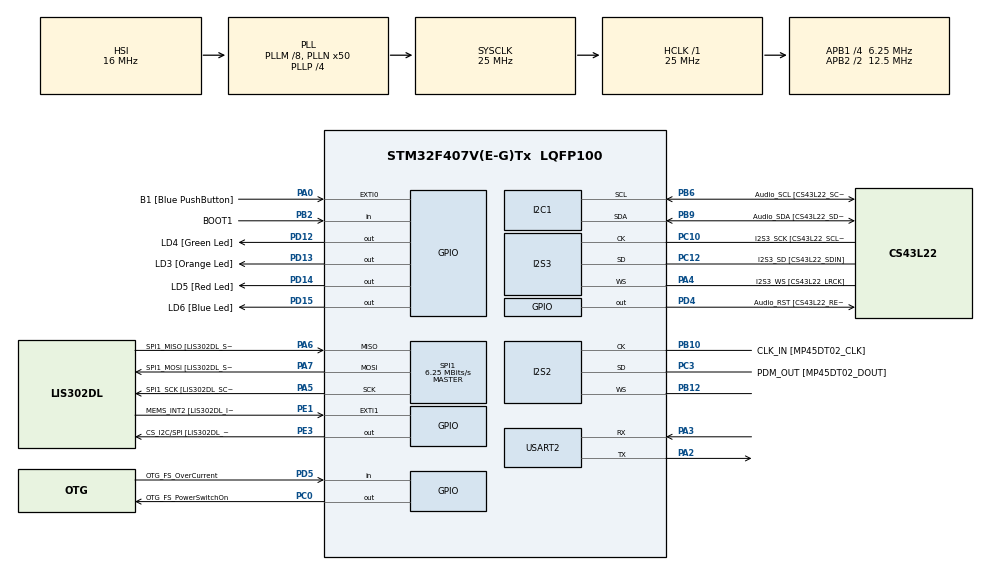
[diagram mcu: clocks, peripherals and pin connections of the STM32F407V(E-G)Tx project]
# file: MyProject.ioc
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I2S2.AudioFreq=I2S_AUDIOFREQ_44K
I2S2.ErrorAudioFreq=0.26 %
I2S2.Mode=I2S_MODE_MASTER_RX
I2S2.RealAudioFreq=44.117 KHz
I2S3.AudioFreq=I2S_AUDIOFREQ_44K
I2S3.ErrorAudioFreq=0.26 %
I2S3.RealAudioFreq=44.117 KHz
Mcu.Family=STM32F4
Mcu.Name=STM32F407V(E-G)Tx
Mcu.Package=LQFP100
NVIC.PriorityGroup=NVIC_PRIORITYGROUP_0
PA0-WKUP.GPIO_Label=B1 [Blue PushButton]
PA0-WKUP.Signal=GPXTI0
PA10.GPIO_Label=OTG_FS_ID
PA10.GPIO_Mode=GPIO_MODE_AF_PP
PA10.GPIO_PuPd=GPIO_NOPULL
PA10.GPIO_Speed=GPIO_SPEED_FREQ_LOW
PA10.Signal=USB_OTG_FS_ID
PA11.GPIO_Label=OTG_FS_DM
PA11.GPIO_Mode=GPIO_MODE_AF_PP
PA11.GPIO_PuPd=GPIO_NOPULL
PA11.GPIO_Speed=GPIO_SPEED_FREQ_LOW
PA11.Signal=USB_OTG_FS_DM
PA12.GPIO_Label=OTG_FS_DP
PA12.GPIO_Mode=GPIO_MODE_AF_PP
PA12.GPIO_PuPd=GPIO_NOPULL
PA12.GPIO_Speed=GPIO_SPEED_FREQ_LOW
PA12.Signal=USB_OTG_FS_DP
PA13.GPIO_Label=SWDIO
PA13.Signal=SYS_JTMS-SWDIO
PA14.GPIO_Label=SWCLK
PA14.Signal=SYS_JTCK-SWCLK
PA2.Mode=Asynchronous
PA2.Signal=USART2_TX
PA3.Mode=Asynchronous
PA3.Signal=USART2_RX
PA4.GPIO_Label=I2S3_WS [CS43L22_LRCK]
PA4.GPIO_Mode=GPIO_MODE_AF_PP
PA4.GPIO_PuPd=GPIO_NOPULL
PA4.GPIO_Speed=GPIO_SPEED_FREQ_LOW
PA4.Mode=Half_Duplex_Master
PA4.Signal=I2S3_WS
PA5.GPIO_Label=SPI1_SCK [LIS302DL_SCL/SPC]
PA5.GPIO_Mode=GPIO_MODE_AF_PP
PA5.GPIO_PuPd=GPIO_NOPULL
PA5.GPIO_Speed=GPIO_SPEED_FREQ_LOW
PA5.Mode=Full_Duplex_Master
PA5.Signal=SPI1_SCK
PA6.GPIO_Label=SPI1_MISO [LIS302DL_SDO]
PA6.GPIO_Mode=GPIO_MODE_AF_PP
PA6.GPIO_PuPd=GPIO_NOPULL
PA6.GPIO_Speed=GPIO_SPEED_FREQ_LOW
PA6.Mode=Full_Duplex_Master
PA6.Signal=SPI1_MISO
PA7.GPIO_Label=SPI1_MOSI [LIS302DL_SDA/SDI/SDO]
PA7.GPIO_Mode=GPIO_MODE_AF_PP
PA7.GPIO_PuPd=GPIO_NOPULL
PA7.GPIO_Speed=GPIO_SPEED_FREQ_LOW
PA7.Mode=Full_Duplex_Master
PA7.Signal=SPI1_MOSI
PA9.GPIO_Label=VBUS_FS
PA9.GPIO_Mode=GPIO_MODE_INPUT
PA9.GPIO_PuPd=GPIO_NOPULL
PA9.Signal=USB_OTG_FS_VBUS
PB10.GPIO_Label=CLK_IN [MP45DT02_CLK]
PB10.GPIO_Mode=GPIO_MODE_AF_PP
PB10.GPIO_PuPd=GPIO_NOPULL
PB10.GPIO_Speed=GPIO_SPEED_FREQ_LOW
PB10.Mode=Half_Duplex_Master
PB10.Signal=I2S2_CK
PB12.Mode=Half_Duplex_Master
PB12.Signal=I2S2_WS
PB2.GPIO_Label=BOOT1
PB2.GPIO_Mode=GPIO_MODE_INPUT
PB2.GPIO_PuPd=GPIO_NOPULL
PB2.Signal=GPIO_Input
PB3.GPIO_Label=SWO
PB3.Signal=SYS_JTDO-SWO
PB6.GPIO_Label=Audio_SCL [CS43L22_SCL]
PB6.GPIO_Mode=GPIO_MODE_AF_OD
PB6.GPIO_PuPd=GPIO_NOPULL
PB6.GPIO_Speed=GPIO_SPEED_FREQ_LOW
PB6.Mode=I2C
PB6.Signal=I2C1_SCL
PB9.GPIO_Label=Audio_SDA [CS43L22_SDA]
PB9.GPIO_Mode=GPIO_MODE_AF_OD
PB9.GPIO_PuPd=GPIO_NOPULL
PB9.GPIO_Speed=GPIO_SPEED_FREQ_LOW
PB9.Mode=I2C
PB9.Signal=I2C1_SDA
PC0.GPIO_Label=OTG_FS_PowerSwitchOn
PC0.GPIO_PuPd=GPIO_NOPULL
PC0.GPIO_Speed=GPIO_SPEED_FREQ_LOW
PC0.PinState=GPIO_PIN_SET
PC0.Signal=GPIO_Output
PC10.GPIO_Label=I2S3_SCK [CS43L22_SCLK]
PC10.GPIO_Mode=GPIO_MODE_AF_PP
PC10.GPIO_PuPd=GPIO_NOPULL
PC10.GPIO_Speed=GPIO_SPEED_FREQ_LOW
PC10.Mode=Half_Duplex_Master
PC10.Signal=I2S3_CK
PC12.GPIO_Label=I2S3_SD [CS43L22_SDIN]
PC12.GPIO_Mode=GPIO_MODE_AF_PP
PC12.GPIO_PuPd=GPIO_NOPULL
PC12.GPIO_Speed=GPIO_SPEED_FREQ_LOW
PC12.Mode=Half_Duplex_Master
PC12.Signal=I2S3_SD
PC14-OSC32_IN.GPIO_Label=PC14-OSC32_IN
PC14-OSC32_IN.Signal=RCC_OSC32_IN
PC15-OSC32_OUT.GPIO_Label=PC15-OSC32_OUT
PC15-OSC32_OUT.Signal=RCC_OSC32_OUT
PC3.GPIO_Label=PDM_OUT [MP45DT02_DOUT]
PC3.GPIO_Mode=GPIO_MODE_AF_PP
PC3.GPIO_PuPd=GPIO_NOPULL
PC3.GPIO_Speed=GPIO_SPEED_FREQ_LOW
PC3.Mode=Half_Duplex_Master
PC3.Signal=I2S2_SD
PC7.GPIO_Label=I2S3_MCK [CS43L22_MCLK]
PC7.GPIO_Mode=GPIO_MODE_AF_PP
PC7.GPIO_PuPd=GPIO_NOPULL
PC7.GPIO_Speed=GPIO_SPEED_FREQ_LOW
PC7.Signal=I2S3_MCK
PD12.GPIO_Label=LD4 [Green Led]
PD12.GPIO_PuPd=GPIO_NOPULL
PD12.GPIO_Speed=GPIO_SPEED_FREQ_LOW
PD12.Signal=GPIO_Output
PD13.GPIO_Label=LD3 [Orange Led]
PD13.GPIO_PuPd=GPIO_NOPULL
PD13.GPIO_Speed=GPIO_SPEED_FREQ_LOW
PD13.Signal=GPIO_Output
PD14.GPIO_Label=LD5 [Red Led]
PD14.GPIO_PuPd=GPIO_NOPULL
PD14.GPIO_Speed=GPIO_SPEED_FREQ_LOW
PD14.Signal=GPIO_Output
PD15.GPIO_Label=LD6 [Blue Led]
PD15.GPIO_PuPd=GPIO_NOPULL
PD15.GPIO_Speed=GPIO_SPEED_FREQ_LOW
PD15.Signal=GPIO_Output
PD4.GPIO_Label=Audio_RST [CS43L22_RESET]
PD4.GPIO_PuPd=GPIO_NOPULL
PD4.GPIO_Speed=GPIO_SPEED_FREQ_LOW
PD4.Signal=GPIO_Output
PD5.GPIO_Label=OTG_FS_OverCurrent
PD5.GPIO_Mode=GPIO_MODE_INPUT
PD5.GPIO_PuPd=GPIO_NOPULL
PD5.Signal=GPIO_Input
PE1.GPIO_Label=MEMS_INT2 [LIS302DL_INT2]
PE1.GPIO_ModeDefaultEXTI=GPIO_MODE_EVT_RISING
PE1.GPIO_PuPd=GPIO_NOPULL
PE1.Signal=GPXTI1
PE3.GPIO_Label=CS_I2C/SPI [LIS302DL_CS_I2C/SPI]
PE3.GPIO_PuPd=GPIO_NOPULL
PE3.GPIO_Speed=GPIO_SPEED_FREQ_LOW
PE3.Signal=GPIO_Output
PH0-OSC_IN.GPIO_Label=PH0-OSC_IN
PH0-OSC_IN.Signal=RCC_OSC_IN
PH1-OSC_OUT.GPIO_Label=PH1-OSC_OUT
PH1-OSC_OUT.Signal=RCC_OSC_OUT
ProjectManager.HeapSize=0x200
ProjectManager.StackSize=0x400
ProjectManager.TargetToolchain=SW4STM32
RCC.48MHZClocksFreq_Value=14285714.285714285
RCC.AHBFreq_Value=25000000
RCC.APB1CLKDivider=RCC_HCLK_DIV4
RCC.APB1Freq_Value=6250000
RCC.APB1TimFreq_Value=12500000
RCC.APB2CLKDivider=RCC_HCLK_DIV2
RCC.APB2Freq_Value=12500000
RCC.APB2TimFreq_Value=25000000
RCC.CortexFreq_Value=25000000
RCC.HCLKFreq_Value=25000000
RCC.HSE_VALUE=8000000
RCC.HSI_VALUE=16000000
RCC.LSE_VALUE=32768
RCC.PLLM=8
RCC.PLLN=50
RCC.PLLP=RCC_PLLP_DIV4
RCC.PLLQ=7
RCC.SYSCLKFreq_VALUE=25000000
RCC.SYSCLKSource=RCC_SYSCLKSOURCE_PLLCLK
RCC.VCOOutputFreq_Value=100000000
SPI1.CalculateBaudRate=6.25 MBits/s
SPI1.Mode=SPI_MODE_MASTER
VP_TIM1_VS_ClockSourceINT.Mode=Internal
board=STM32F407G-DISC1

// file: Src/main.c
/**
  ******************************************************************************
  * File Name          : main.c
  * Description        : Main program body
  ******************************************************************************
  *
  * COPYRIGHT(c) 2016 STMicroelectronics
  *
  * Redistribution and use in source and binary forms, with or without modification,
  * are permitted provided that the following conditions are met:
  *   1. Redistributions of source code must retain the above copyright notice,
  *      this list of conditions and the following disclaimer.
  *   2. Redistributions in binary form must reproduce the above copyright notice,
  *      this list of conditions and the following disclaimer in the documentation
  *      and/or other materials provided with the distribution.
  *   3. Neither the name of STMicroelectronics nor the names of its contributors
  *      may be used to endorse or promote products derived from this software
  *      without specific prior written permission.
  *
  * THIS SOFTWARE IS PROVIDED BY THE COPYRIGHT HOLDERS AND CONTRIBUTORS "AS IS"
  * AND ANY EXPRESS OR IMPLIED WARRANTIES, INCLUDING, BUT NOT LIMITED TO, THE
  * IMPLIED WARRANTIES OF MERCHANTABILITY AND FITNESS FOR A PARTICULAR PURPOSE ARE
  * DISCLAIMED. IN NO EVENT SHALL THE COPYRIGHT HOLDER OR CONTRIBUTORS BE LIABLE
  * FOR ANY DIRECT, INDIRECT, INCIDENTAL, SPECIAL, EXEMPLARY, OR CONSEQUENTIAL
  * DAMAGES (INCLUDING, BUT NOT LIMITED TO, PROCUREMENT OF SUBSTITUTE GOODS OR
  * SERVICES; LOSS OF USE, DATA, OR PROFITS; OR BUSINESS INTERRUPTION) HOWEVER
  * CAUSED AND ON ANY THEORY OF LIABILITY, WHETHER IN CONTRACT, STRICT LIABILITY,
  * OR TORT (INCLUDING NEGLIGENCE OR OTHERWISE) ARISING IN ANY WAY OUT OF THE USE
  * OF THIS SOFTWARE, EVEN IF ADVISED OF THE POSSIBILITY OF SUCH DAMAGE.
  *
  ******************************************************************************
  */
#include "main.h"
#include "stm32f4xx_hal.h"

I2C_HandleTypeDef hi2c1;

I2S_HandleTypeDef hi2s2;
I2S_HandleTypeDef hi2s3;

SPI_HandleTypeDef hspi1;

TIM_HandleTypeDef htim1;

UART_HandleTypeDef huart2;

/* USER CODE BEGIN PV */
/* Private variables ---------------------------------------------------------*/

/* USER CODE END PV */

void SystemClock_Config(void);
void Error_Handler(void);
static void MX_GPIO_Init(void);
static void MX_I2C1_Init(void);
static void MX_I2S2_Init(void);
static void MX_I2S3_Init(void);
static void MX_SPI1_Init(void);
static void MX_USART2_UART_Init(void);
static void MX_TIM1_Init(void);

/* USER CODE BEGIN PFP */
/* Private function prototypes -----------------------------------------------*/

/* USER CODE END PFP */

/* USER CODE BEGIN 0 */
// Accelerometer val
uint8_t address;
int acx,acy,acz;
int left = 0,right = 0,up = 0,down = 0;
//Mic Val
uint16_t buffer[20];
uint16_t pdm=0;
uint8_t  pcm=0;
int it,count = 0;
float pcm_buffer = 0.0;
float amp = 0.0;
float max_amp = 0.0;
//Speaker Val
uint8_t startval[2];
uint16_t Istr[1];
//Logic val
int curX,curY,stX = 0,stY = 0,edX,edY;
int isEnd = 0;
char grid[5][5];
/* USER CODE END 0 */

int main(void)
{

  /* MCU Configuration----------------------------------------------------------*/

  /* Reset of all peripherals, Initializes the Flash interface and the Systick. */
  HAL_Init();

  /* Configure the system clock */
  SystemClock_Config();

  /* Initialize all configured peripherals */
  MX_GPIO_Init();
  MX_I2C1_Init();
  MX_I2S2_Init();
  MX_I2S3_Init();
  MX_SPI1_Init();
  MX_USART2_UART_Init();
  MX_TIM1_Init();

  /* USER CODE BEGIN 2 */
  // Init Accelero
  curX = 0; curY = 0;
  edX = rand()%3+2;
  edY = rand()%3+2;
  initAc();

  initSpeaker();
  updateScreen();
  /* USER CODE END 2 */

  /* Infinite loop */
  while (1)
  {

  /* USER CODE BEGIN 3 */
	  isEnd = 0;
	  getXYZ();
	  //micUpdate();
	  if(left == 0 && right ==0 && up ==0 && down ==0){
		  HAL_Delay(200);
		  continue;
	  }
	  if(move() == 0) {
		  startval[0] = 0x1E;
		  startval[1] = 0x20;
		  HAL_I2C_Master_Transmit(&hi2c1, 0x94, startval, 2, 50);
		  // C
		  startval[0] = 0x1C;
		  startval[1] = 0x1F;
		  HAL_I2C_Master_Transmit(&hi2c1, 0x94, startval, 2, 50);

		  startval[0] = 0x1E;
		  startval[1] = 0xE0;
		  HAL_I2C_Master_Transmit(&hi2c1, 0x94, startval, 2, 50);
		  for (int k=0;k<1000;k++) {
		  	  HAL_I2S_Transmit (&hi2s3, Istr , 0x10, 10 );
		  }
	  }
	  else {
		  startval[0] = 0x1E;
		  startval[1] = 0x20;
		  HAL_I2C_Master_Transmit(&hi2c1, 0x94, startval, 2, 50);
		  // F
		  startval[0] = 0x1C;
		  startval[1] = 0x4F;
		  HAL_I2C_Master_Transmit(&hi2c1, 0x94, startval, 2, 50);

		  startval[0] = 0x1E;
		  startval[1] = 0xE0;
		  HAL_I2C_Master_Transmit(&hi2c1, 0x94, startval, 2, 50);
		  for (int k=0;k<1000;k++) {
			  //HAL_GPIO_WritePin(GPIOD,GPIO_PIN_15,GPIO_PIN_SET);
		  	  HAL_I2S_Transmit (&hi2s3, Istr , 0x10, 10 );
		  }
		  updateScreen();
	  }
	  if(isReached() == 1){
		  char str[10] = "Arrived!!";
		  HAL_UART_Transmit(&huart2,"\033c",4,1000);
		  HAL_UART_Transmit(&huart2,&str,9,1000);
		  playMusic();
	  }
	  while(isReached() == 1){
		  count = 0;
		  micUpdate();
		  if(isSpeak() == 1) {
			  isEnd = 1;
			  break;
		  }
	  }
	  if(isEnd == 1){
		  //while(isSpeak() == 0) count = 0,micUpdate();
		  curX = 0;
		  curY = 0;
		  isEnd = 0;
		  edX = rand()%3+2;
		  edY = rand()%3+2;
		  updateScreen();
	  }

	  HAL_Delay(200);
  }
  /* USER CODE END 3 */

}
void initAc(){
	HAL_GPIO_WritePin(GPIOE,GPIO_PIN_3,GPIO_PIN_RESET);
	address = 0x20;
	HAL_SPI_Transmit(&hspi1,&address,1,50);

	uint8_t data = 0x67;
	HAL_SPI_Transmit(&hspi1,&data,1,50);

	HAL_GPIO_WritePin(GPIOE,GPIO_PIN_3,GPIO_PIN_SET);
}
void initSpeaker(){
    HAL_GPIO_WritePin(GPIOD, GPIO_PIN_4, 0);
    HAL_GPIO_WritePin(GPIOD, GPIO_PIN_4, 1);

    startval[0] = 0x47;
    startval[1] = 0x80;
    HAL_I2C_Master_Transmit(&hi2c1, 0x94, startval, 2, 50);

    startval[0] = 0x32;
    startval[1] = 0x80;
    HAL_I2C_Master_Transmit(&hi2c1, 0x94, startval, 2, 50);

    startval[0] = 0x32;
    startval[1] = 0x00;
    HAL_I2C_Master_Transmit(&hi2c1, 0x94, startval, 2, 50);

    startval[0] = 0x1C;
    startval[1] = 0xAF;
    HAL_I2C_Master_Transmit(&hi2c1, 0x94, startval, 2, 50);

    startval[0] = 0x1E;
    startval[1] = 0xE0;
    HAL_I2C_Master_Transmit(&hi2c1, 0x94, startval, 2, 50);

    startval[0] = 0x02;
    startval[1] = 0x9E;
    HAL_I2C_Master_Transmit(&hi2c1, 0x94, startval, 2, 50);
}
void playMusic(){
	startval[0] = 0x1E;
	startval[1] = 0x20;
	HAL_I2C_Master_Transmit(&hi2c1, 0x94, startval, 2, 50);
	// C
	startval[0] = 0x1C;
	startval[1] = 0x1F;
	HAL_I2C_Master_Transmit(&hi2c1, 0x94, startval, 2, 50);

	startval[0] = 0x1E;
	startval[1] = 0xE0;
	HAL_I2C_Master_Transmit(&hi2c1, 0x94, startval, 2, 50);
	for (int k=0;k<1000;k++) {
		  HAL_I2S_Transmit (&hi2s3, Istr , 0x10, 10 );
	}
	HAL_Delay(50);
	startval[0] = 0x1E;
	startval[1] = 0x20;
	HAL_I2C_Master_Transmit(&hi2c1, 0x94, startval, 2, 50);
	// C
	startval[0] = 0x1C;
	startval[1] = 0x2F;
	HAL_I2C_Master_Transmit(&hi2c1, 0x94, startval, 2, 50);

	startval[0] = 0x1E;
	startval[1] = 0xE0;
	HAL_I2C_Master_Transmit(&hi2c1, 0x94, startval, 2, 50);
	for (int k=0;k<1000;k++) {
		  HAL_I2S_Transmit (&hi2s3, Istr , 0x10, 10 );
	}
	HAL_Delay(50);
	startval[0] = 0x1E;
	startval[1] = 0x20;
	HAL_I2C_Master_Transmit(&hi2c1, 0x94, startval, 2, 50);
	// C
	startval[0] = 0x1C;
	startval[1] = 0x3F;
	HAL_I2C_Master_Transmit(&hi2c1, 0x94, startval, 2, 50);

	startval[0] = 0x1E;
	startval[1] = 0xE0;
	HAL_I2C_Master_Transmit(&hi2c1, 0x94, startval, 2, 50);
	for (int k=0;k<1000;k++) {
		  HAL_I2S_Transmit (&hi2s3, Istr , 0x10, 10 );
	}
	HAL_Delay(50);
	startval[0] = 0x1E;
	startval[1] = 0x20;
	HAL_I2C_Master_Transmit(&hi2c1, 0x94, startval, 2, 50);
	// C
	startval[0] = 0x1C;
	startval[1] = 0x4F;
	HAL_I2C_Master_Transmit(&hi2c1, 0x94, startval, 2, 50);

	startval[0] = 0x1E;
	startval[1] = 0xE0;
	HAL_I2C_Master_Transmit(&hi2c1, 0x94, startval, 2, 50);
	for (int k=0;k<1000;k++) {
		  HAL_I2S_Transmit (&hi2s3, Istr , 0x10, 10 );
	}
}
void updateScreen(){
	int i=0,j=0;
	for( i=0;i<5;i++ ){
		for( j=0;j<5;j++ ){
			grid[i][j] = '-';
		}
	}
	HAL_UART_Transmit(&huart2,"\033c",4,1000);
	grid[edY][edX] = 'T';
	grid[curY][curX] = 'P';
	HAL_UART_Transmit(&huart2,&grid[0],5,1000); HAL_UART_Transmit(&huart2,"\n\r",2,1000);
	HAL_UART_Transmit(&huart2,&grid[1],5,1000); HAL_UART_Transmit(&huart2,"\n\r",2,1000);
	HAL_UART_Transmit(&huart2,&grid[2],5,1000); HAL_UART_Transmit(&huart2,"\n\r",2,1000);
	HAL_UART_Transmit(&huart2,&grid[3],5,1000); HAL_UART_Transmit(&huart2,"\n\r",2,1000);
	HAL_UART_Transmit(&huart2,&grid[4],5,1000); HAL_UART_Transmit(&huart2,"\n\r",2,1000);
}
//Accelerometer FUnction
void getXYZ(){
	uint8_t temp;
	HAL_GPIO_WritePin(GPIOE,GPIO_PIN_3,GPIO_PIN_RESET);
	address = 0x29+ 0x80;		//x
	HAL_SPI_Transmit(&hspi1,&address,1,50);
	HAL_SPI_Receive(&hspi1,&temp,1,50);
	acx=temp; // cast from uint -> int

	address = 0x2B+ 0x80;		//y
	HAL_SPI_Transmit(&hspi1,&address,1,50);
	HAL_SPI_Receive(&hspi1,&temp,1,50);
	acy=temp;

	address = 0x2D+ 0x80;		//z
	HAL_SPI_Transmit(&hspi1,&address,1,50);
	HAL_SPI_Receive(&hspi1,&temp,1,50);
	acz=temp;
	left = right = up = down = 0;
 	 HAL_GPIO_WritePin(GPIOE,GPIO_PIN_3,GPIO_PIN_SET);
 	 //up
 	 if((acy>=15&&acy<=60)&&(acx<15||acx>240))
 		 HAL_GPIO_WritePin(GPIOD,GPIO_PIN_13,GPIO_PIN_SET),up = 1;
 	 else
 		 HAL_GPIO_WritePin(GPIOD,GPIO_PIN_13,GPIO_PIN_RESET);
 	 //down
 	 if((acy<=240&&acy>=200)&&(acx<15||acx>240))
 		 HAL_GPIO_WritePin(GPIOD,GPIO_PIN_15,GPIO_PIN_SET),down = 1;
 	 else
 		 HAL_GPIO_WritePin(GPIOD,GPIO_PIN_15,GPIO_PIN_RESET);
 	 //right
 	 if((acx<=240&&acx>=200)&&(acy<15||acy>240))
 		 HAL_GPIO_WritePin(GPIOD,GPIO_PIN_12,GPIO_PIN_SET),right = 1;
 	 else
 		 HAL_GPIO_WritePin(GPIOD,GPIO_PIN_12,GPIO_PIN_RESET);
 	 //left
 	 if((acx>=20&&acx<=60)&&(acy<15||acy>240))
 		 HAL_GPIO_WritePin(GPIOD,GPIO_PIN_14,GPIO_PIN_SET),left = 1;
 	 else
 		 HAL_GPIO_WritePin(GPIOD,GPIO_PIN_14,GPIO_PIN_RESET);

}
int isReached(){
	if(curX == edX && curY == edY) return 1;
	return 0;
}
int move(){
	if(right == 1){
		if(curX == 0) return 0;
		else curX--;
	}
	else if(down == 1){
		if(curY == 4) return 0;
		else curY++;
	}
	else if(up == 1){
		if(curY == 0) return 0;
		else curY--;
	}
	else if(left == 1){
		if(curX == 4) return 0;
		else curX++;
	}
	return 1;
}
// Microphone
int isSpeak(){
	if(amp>50000.0) return 1;
	return 0;
}
float absfunc(float x){
	if (x < 0) return -1*x;
	else return x;
}
void micUpdate(){
	  HAL_I2S_Receive(&hi2s2, buffer, 20, 1000);
	  amp = 0;
	  for(it=0; it<20; it++){
	        pcm = -8;
	        pdm = buffer[it];
	        // Count high bit
	        while ( pdm != 0 ) {
	          pcm ++;
	          pdm ^= pdm & -pdm;
	        }
	        pcm_buffer += pcm;
	        pcm_buffer *= 0.95;
	        amp += absfunc(pcm_buffer);
	        amp *= 0.95;
	  }
	      //count++;
//	      if(max_amp <amp) {
//	    	  max_amp = amp;
//	      }
//	      if(count == 2000){
//	      	max_amp = 0;
//	      	count = 0;
//	      }
}
/** System Clock Configuration
*/
void SystemClock_Config(void)
{

  RCC_OscInitTypeDef RCC_OscInitStruct;
  RCC_ClkInitTypeDef RCC_ClkInitStruct;
  RCC_PeriphCLKInitTypeDef PeriphClkInitStruct;

    /**Configure the main internal regulator output voltage
    */
  __HAL_RCC_PWR_CLK_ENABLE();

  __HAL_PWR_VOLTAGESCALING_CONFIG(PWR_REGULATOR_VOLTAGE_SCALE1);

    /**Initializes the CPU, AHB and APB busses clocks
    */
  RCC_OscInitStruct.OscillatorType = RCC_OSCILLATORTYPE_HSI;
  RCC_OscInitStruct.HSIState = RCC_HSI_ON;
  RCC_OscInitStruct.HSICalibrationValue = 16;
  RCC_OscInitStruct.PLL.PLLState = RCC_PLL_ON;
  RCC_OscInitStruct.PLL.PLLSource = RCC_PLLSOURCE_HSI;
  RCC_OscInitStruct.PLL.PLLM = 8;
  RCC_OscInitStruct.PLL.PLLN = 50;
  RCC_OscInitStruct.PLL.PLLP = RCC_PLLP_DIV4;
  RCC_OscInitStruct.PLL.PLLQ = 7;
  if (HAL_RCC_OscConfig(&RCC_OscInitStruct) != HAL_OK)
  {
    Error_Handler();
  }

    /**Initializes the CPU, AHB and APB busses clocks
    */
  RCC_ClkInitStruct.ClockType = RCC_CLOCKTYPE_HCLK|RCC_CLOCKTYPE_SYSCLK
                              |RCC_CLOCKTYPE_PCLK1|RCC_CLOCKTYPE_PCLK2;
  RCC_ClkInitStruct.SYSCLKSource = RCC_SYSCLKSOURCE_PLLCLK;
  RCC_ClkInitStruct.AHBCLKDivider = RCC_SYSCLK_DIV1;
  RCC_ClkInitStruct.APB1CLKDivider = RCC_HCLK_DIV4;
  RCC_ClkInitStruct.APB2CLKDivider = RCC_HCLK_DIV2;

  if (HAL_RCC_ClockConfig(&RCC_ClkInitStruct, FLASH_LATENCY_0) != HAL_OK)
  {
    Error_Handler();
  }

  PeriphClkInitStruct.PeriphClockSelection = RCC_PERIPHCLK_I2S;
  PeriphClkInitStruct.PLLI2S.PLLI2SN = 192;
  PeriphClkInitStruct.PLLI2S.PLLI2SR = 2;
  if (HAL_RCCEx_PeriphCLKConfig(&PeriphClkInitStruct) != HAL_OK)
  {
    Error_Handler();
  }

    /**Configure the Systick interrupt time
    */
  HAL_SYSTICK_Config(HAL_RCC_GetHCLKFreq()/1000);

    /**Configure the Systick
    */
  HAL_SYSTICK_CLKSourceConfig(SYSTICK_CLKSOURCE_HCLK);

  /* SysTick_IRQn interrupt configuration */
  HAL_NVIC_SetPriority(SysTick_IRQn, 0, 0);
}

/* I2C1 init function */
static void MX_I2C1_Init(void)
{

  hi2c1.Instance = I2C1;
  hi2c1.Init.ClockSpeed = 100000;
  hi2c1.Init.DutyCycle = I2C_DUTYCYCLE_2;
  hi2c1.Init.OwnAddress1 = 0;
  hi2c1.Init.AddressingMode = I2C_ADDRESSINGMODE_7BIT;
  hi2c1.Init.DualAddressMode = I2C_DUALADDRESS_DISABLE;
  hi2c1.Init.OwnAddress2 = 0;
  hi2c1.Init.GeneralCallMode = I2C_GENERALCALL_DISABLE;
  hi2c1.Init.NoStretchMode = I2C_NOSTRETCH_DISABLE;
  if (HAL_I2C_Init(&hi2c1) != HAL_OK)
  {
    Error_Handler();
  }

}

/* I2S2 init function */
static void MX_I2S2_Init(void)
{

  hi2s2.Instance = SPI2;
  hi2s2.Init.Mode = I2S_MODE_MASTER_RX;
  hi2s2.Init.Standard = I2S_STANDARD_PHILIPS;
  hi2s2.Init.DataFormat = I2S_DATAFORMAT_16B;
  hi2s2.Init.MCLKOutput = I2S_MCLKOUTPUT_DISABLE;
  hi2s2.Init.AudioFreq = I2S_AUDIOFREQ_44K;
  hi2s2.Init.CPOL = I2S_CPOL_LOW;
  hi2s2.Init.ClockSource = I2S_CLOCK_PLL;
  hi2s2.Init.FullDuplexMode = I2S_FULLDUPLEXMODE_DISABLE;
  if (HAL_I2S_Init(&hi2s2) != HAL_OK)
  {
    Error_Handler();
  }

}

/* I2S3 init function */
static void MX_I2S3_Init(void)
{

  hi2s3.Instance = SPI3;
  hi2s3.Init.Mode = I2S_MODE_MASTER_TX;
  hi2s3.Init.Standard = I2S_STANDARD_PHILIPS;
  hi2s3.Init.DataFormat = I2S_DATAFORMAT_16B;
  hi2s3.Init.MCLKOutput = I2S_MCLKOUTPUT_ENABLE;
  hi2s3.Init.AudioFreq = I2S_AUDIOFREQ_44K;
  hi2s3.Init.CPOL = I2S_CPOL_LOW;
  hi2s3.Init.ClockSource = I2S_CLOCK_PLL;
  hi2s3.Init.FullDuplexMode = I2S_FULLDUPLEXMODE_DISABLE;
  if (HAL_I2S_Init(&hi2s3) != HAL_OK)
  {
    Error_Handler();
  }

}

/* SPI1 init function */
static void MX_SPI1_Init(void)
{

  hspi1.Instance = SPI1;
  hspi1.Init.Mode = SPI_MODE_MASTER;
  hspi1.Init.Direction = SPI_DIRECTION_2LINES;
  hspi1.Init.DataSize = SPI_DATASIZE_8BIT;
  hspi1.Init.CLKPolarity = SPI_POLARITY_LOW;
  hspi1.Init.CLKPhase = SPI_PHASE_1EDGE;
  hspi1.Init.NSS = SPI_NSS_SOFT;
  hspi1.Init.BaudRatePrescaler = SPI_BAUDRATEPRESCALER_2;
  hspi1.Init.FirstBit = SPI_FIRSTBIT_MSB;
  hspi1.Init.TIMode = SPI_TIMODE_DISABLE;
  hspi1.Init.CRCCalculation = SPI_CRCCALCULATION_DISABLE;
  hspi1.Init.CRCPolynomial = 10;
  if (HAL_SPI_Init(&hspi1) != HAL_OK)
  {
    Error_Handler();
  }

}

/* TIM1 init function */
static void MX_TIM1_Init(void)
{

  TIM_ClockConfigTypeDef sClockSourceConfig;
  TIM_MasterConfigTypeDef sMasterConfig;

  htim1.Instance = TIM1;
  htim1.Init.Prescaler = 1680;
  htim1.Init.CounterMode = TIM_COUNTERMODE_UP;
  htim1.Init.Period = 99;
  htim1.Init.ClockDivision = TIM_CLOCKDIVISION_DIV1;
  htim1.Init.RepetitionCounter = 0;
  if (HAL_TIM_Base_Init(&htim1) != HAL_OK)
  {
    Error_Handler();
  }

  sClockSourceConfig.ClockSource = TIM_CLOCKSOURCE_INTERNAL;
  if (HAL_TIM_ConfigClockSource(&htim1, &sClockSourceConfig) != HAL_OK)
  {
    Error_Handler();
  }

  sMasterConfig.MasterOutputTrigger = TIM_TRGO_RESET;
  sMasterConfig.MasterSlaveMode = TIM_MASTERSLAVEMODE_DISABLE;
  if (HAL_TIMEx_MasterConfigSynchronization(&htim1, &sMasterConfig) != HAL_OK)
  {
    Error_Handler();
  }

}

/* USART2 init function */
static void MX_USART2_UART_Init(void)
{

  huart2.Instance = USART2;
  huart2.Init.BaudRate = 115200;
  huart2.Init.WordLength = UART_WORDLENGTH_8B;
  huart2.Init.StopBits = UART_STOPBITS_1;
  huart2.Init.Parity = UART_PARITY_NONE;
  huart2.Init.Mode = UART_MODE_TX_RX;
  huart2.Init.HwFlowCtl = UART_HWCONTROL_NONE;
  huart2.Init.OverSampling = UART_OVERSAMPLING_16;
  if (HAL_UART_Init(&huart2) != HAL_OK)
  {
    Error_Handler();
  }

}

/** Configure pins as
        * Analog
        * Input
        * Output
        * EVENT_OUT
        * EXTI
     PA9   ------> USB_OTG_FS_VBUS
     PA10   ------> USB_OTG_FS_ID
     PA11   ------> USB_OTG_FS_DM
     PA12   ------> USB_OTG_FS_DP
*/
static void MX_GPIO_Init(void)
{

  GPIO_InitTypeDef GPIO_InitStruct;

  /* GPIO Ports Clock Enable */
  __HAL_RCC_GPIOE_CLK_ENABLE();
  __HAL_RCC_GPIOC_CLK_ENABLE();
  __HAL_RCC_GPIOH_CLK_ENABLE();
  __HAL_RCC_GPIOA_CLK_ENABLE();
  __HAL_RCC_GPIOB_CLK_ENABLE();
  __HAL_RCC_GPIOD_CLK_ENABLE();

  /*Configure GPIO pin Output Level */
  HAL_GPIO_WritePin(CS_I2C_SPI_GPIO_Port, CS_I2C_SPI_Pin, GPIO_PIN_RESET);

  /*Configure GPIO pin Output Level */
  HAL_GPIO_WritePin(OTG_FS_PowerSwitchOn_GPIO_Port, OTG_FS_PowerSwitchOn_Pin, GPIO_PIN_SET);

  /*Configure GPIO pin Output Level */
  HAL_GPIO_WritePin(GPIOD, LD4_Pin|LD3_Pin|LD5_Pin|LD6_Pin
                          |Audio_RST_Pin, GPIO_PIN_RESET);

  /*Configure GPIO pin : CS_I2C_SPI_Pin */
  GPIO_InitStruct.Pin = CS_I2C_SPI_Pin;
  GPIO_InitStruct.Mode = GPIO_MODE_OUTPUT_PP;
  GPIO_InitStruct.Pull = GPIO_NOPULL;
  GPIO_InitStruct.Speed = GPIO_SPEED_FREQ_LOW;
  HAL_GPIO_Init(CS_I2C_SPI_GPIO_Port, &GPIO_InitStruct);

  /*Configure GPIO pin : OTG_FS_PowerSwitchOn_Pin */
  GPIO_InitStruct.Pin = OTG_FS_PowerSwitchOn_Pin;
  GPIO_InitStruct.Mode = GPIO_MODE_OUTPUT_PP;
  GPIO_InitStruct.Pull = GPIO_NOPULL;
  GPIO_InitStruct.Speed = GPIO_SPEED_FREQ_LOW;
  HAL_GPIO_Init(OTG_FS_PowerSwitchOn_GPIO_Port, &GPIO_InitStruct);

  /*Configure GPIO pin : B1_Pin */
  GPIO_InitStruct.Pin = B1_Pin;
  GPIO_InitStruct.Mode = GPIO_MODE_IT_RISING;
  GPIO_InitStruct.Pull = GPIO_NOPULL;
  HAL_GPIO_Init(B1_GPIO_Port, &GPIO_InitStruct);

  /*Configure GPIO pin : BOOT1_Pin */
  GPIO_InitStruct.Pin = BOOT1_Pin;
  GPIO_InitStruct.Mode = GPIO_MODE_INPUT;
  GPIO_InitStruct.Pull = GPIO_NOPULL;
  HAL_GPIO_Init(BOOT1_GPIO_Port, &GPIO_InitStruct);

  /*Configure GPIO pins : LD4_Pin LD3_Pin LD5_Pin LD6_Pin
                           Audio_RST_Pin */
  GPIO_InitStruct.Pin = LD4_Pin|LD3_Pin|LD5_Pin|LD6_Pin
                          |Audio_RST_Pin;
  GPIO_InitStruct.Mode = GPIO_MODE_OUTPUT_PP;
  GPIO_InitStruct.Pull = GPIO_NOPULL;
  GPIO_InitStruct.Speed = GPIO_SPEED_FREQ_LOW;
  HAL_GPIO_Init(GPIOD, &GPIO_InitStruct);

  /*Configure GPIO pin : VBUS_FS_Pin */
  GPIO_InitStruct.Pin = VBUS_FS_Pin;
  GPIO_InitStruct.Mode = GPIO_MODE_INPUT;
  GPIO_InitStruct.Pull = GPIO_NOPULL;
  HAL_GPIO_Init(VBUS_FS_GPIO_Port, &GPIO_InitStruct);

  /*Configure GPIO pins : OTG_FS_ID_Pin OTG_FS_DM_Pin OTG_FS_DP_Pin */
  GPIO_InitStruct.Pin = OTG_FS_ID_Pin|OTG_FS_DM_Pin|OTG_FS_DP_Pin;
  GPIO_InitStruct.Mode = GPIO_MODE_AF_PP;
  GPIO_InitStruct.Pull = GPIO_NOPULL;
  GPIO_InitStruct.Speed = GPIO_SPEED_FREQ_LOW;
  GPIO_InitStruct.Alternate = GPIO_AF10_OTG_FS;
  HAL_GPIO_Init(GPIOA, &GPIO_InitStruct);

  /*Configure GPIO pin : OTG_FS_OverCurrent_Pin */
  GPIO_InitStruct.Pin = OTG_FS_OverCurrent_Pin;
  GPIO_InitStruct.Mode = GPIO_MODE_INPUT;
  GPIO_InitStruct.Pull = GPIO_NOPULL;
  HAL_GPIO_Init(OTG_FS_OverCurrent_GPIO_Port, &GPIO_InitStruct);

  /*Configure GPIO pin : MEMS_INT2_Pin */
  GPIO_InitStruct.Pin = MEMS_INT2_Pin;
  GPIO_InitStruct.Mode = GPIO_MODE_EVT_RISING;
  GPIO_InitStruct.Pull = GPIO_NOPULL;
  HAL_GPIO_Init(MEMS_INT2_GPIO_Port, &GPIO_InitStruct);

}

void Error_Handler(void)
{
  while(1)
  {
  }
}

/************************ (C) COPYRIGHT STMicroelectronics *****END OF FILE****/
